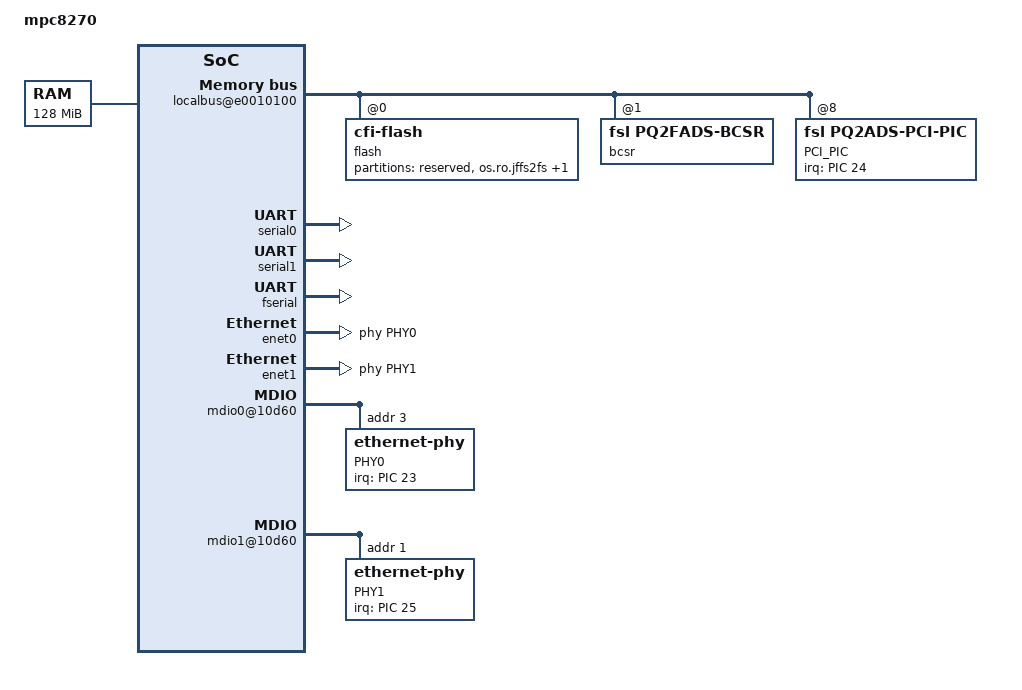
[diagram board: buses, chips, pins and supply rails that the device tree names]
/*
 * Device Tree for MPC8270
 *
 * This program is free software; you can redistribute  it and/or modify it
 * under  the terms of  the GNU General  Public License as published by the
 * Free Software Foundation;  either version 2 of the  License, or (at your
 * option) any later version.
 */

/dts-v1/;

/ {
	model = "mpc8270";
	compatible = "fsl,pq2fads";
	#address-cells = <1>;
	#size-cells = <1>;

	aliases {
		ethernet0 = &enet0;
		ethernet1 = &enet1;
		serial0 = &serial0;
		serial1 = &serial1;
	};

	cpus {
		#address-cells = <1>;
		#size-cells = <0>;

		cpu@0 {
			device_type = "cpu";
			reg = <0x0>;
			d-cache-line-size = <32>;
			i-cache-line-size = <32>;
			d-cache-size = <16384>;
			i-cache-size = <16384>;
			timebase-frequency = <0>;
			clock-frequency = <0>;
		};
	};

	memory {
		device_type = "memory";
		reg = <0x0 0x08000000>;
	};

	localbus@e0010100 {
		compatible = "fsl,mpc8280-localbus",
		             "fsl,pq2-localbus";
		#address-cells = <2>;
		#size-cells = <1>;
		reg = <0xe0010100 0x60>;

		ranges = <0x0 0x0 0xf0000000 0x2000000>;

		flash@0,0 {
			compatible = "cfi-flash";
			reg = <0x0 0x0 0x2000000>;
			#address-cells = <1>;
			#size-cells = <1>;
			bank-width = <4>;
			device-width = <1>;

			/* compact ramfs configuration
			partition@0x00000000 {
				label = "reserved";
				reg = <0x00000000 0x00600000>;
				read-only;
			};
			partition@0x00b00000 {
				label = "jffs2fs";
				reg = <0x00600000 0x01a00000>;
			};*/
			/* ramfs configuration with python support
			partition@0x00000000 {
				label = "reserved";
				reg = <0x00000000 0x00b00000>;
				read-only;
			};
			partition@0x00b00000 {
				label = "jffs2fs";
				reg = <0x00b00000 0x01a00000>;
			};*/
			/* jffs2 configuration with python support */
			partition@0x00000000 {
				label = "reserved";
				reg = <0x00000000 0x00300000>;
				read-only;
			};
			partition@0x00300000 {
				label = "os.ro.jffs2fs";
				reg = <0x00300000 0x00c00000>;
				read-only;
			};
			partition@0x00b00000 {
				label = "app.rw.jffs2fs";
				reg = <0x00f00000 0x01100000>;
			};
		};

		bcsr@1,0 {
			reg = <0x1 0x0 0x20>;
			compatible = "fsl,pq2fads-bcsr";
		};

		PCI_PIC: pic@8,0 {
			#interrupt-cells = <1>;
			interrupt-controller;
			reg = <0x8 0x0 0x8>;
			compatible = "fsl,pq2ads-pci-pic";
			interrupt-parent = <&PIC>;
			interrupts = <24 8>;
		};
	};

	soc@e0000000 {
		#address-cells = <1>;
		#size-cells = <1>;
		device_type = "soc";
		compatible = "fsl,mpc8280", "fsl,pq2-soc";
		ranges = <0x0 0xe0000000 0x53000>;

		// Temporary -- will go away once kernel uses ranges for get_immrbase().
		reg = <0xe0000000 0x53000>;

		cpm@119c0 {
			#address-cells = <1>;
			#size-cells = <1>;
			#interrupt-cells = <2>;
			compatible = "fsl,mpc8280-cpm", "fsl,cpm2";
			reg = <0x119c0 0x30>;
			ranges;

			muram@0 {
				#address-cells = <1>;
				#size-cells = <1>;
				ranges = <0x0 0x0 0x10000>;

				data@0 {
					compatible = "fsl,cpm-muram-data";
					reg = <0x0 0x4000 0x8000 0x4000>;
				};
			};

			brg@119f0 {
				compatible = "fsl,mpc8280-brg",
				             "fsl,cpm2-brg",
				             "fsl,cpm-brg";
				reg = <0x119f0 0x10 0x115f0 0x10>;
			};

			serial0: serial@11a82 {
				device_type = "serial";
				compatible = "fsl,cpm2-smc-uart";
				reg = <0x11a80 0x10 0x87fc 2>;
				interrupts = <4 8>;
				interrupt-parent = <&PIC>;
				fsl,cpm-brg = <7>;
				fsl,cpm-command = <0x1d000000>;
			};

			serial1: serial@11a92 {
				device_type = "serial";
				compatible = "fsl,cpm2-smc-uart";
				reg = <0x11a90 0x10 0x88fc 2>;
				interrupts = <5 8>;
				interrupt-parent = <&PIC>;
				fsl,cpm-brg = <8>;
				fsl,cpm-command = <0x21200000>;
			};

			fserial: fcc1@11300 {
				device_type = "serial";
				compatible = "fsl,mpc8280-fcc-serial",
				             "fsl,cpm2-fcc-serial";
				reg = <0x11300 0x20 0x8400 0x100 0x11b04 0x1>;
				interrupts = <32 8>;
				interrupt-parent = <&PIC>;
				fsl,cpm-command = <0x12000000>;
			};

			scc1: scc1@11a00 {
				device_type = "serial";
				compatible = "fsl,mpc8280-scc-serial",
				             "fsl,cpm2-scc-serial";
				reg = <0x11a00 0x20 0x8000 0x100 0x11b08 0x1>;
				interrupts = <40 8>;
				interrupt-parent = <&PIC>;
				fsl,cpm-command = <0x00800000>;
				fsl,clkcfg_mask = <0x3f000000>;
				fsl,clkcfg_value = <0x37000000>;
			};

			scc2: scc2@11a20 {
				device_type = "serial";
				compatible = "fsl,mpc8280-scc-serial",
				             "fsl,cpm2-scc-serial";
				reg = <0x11a20 0x20 0x8100 0x100 0x11b08 0x1>;
				interrupts = <41 8>;
				interrupt-parent = <&PIC>;
				fsl,cpm-command = <0x04a00000>;
				fsl,clkcfg_mask = <0x003f0000>;
				fsl,clkcfg_value = <0x002500>;
			};

			scc3: scc3@11a40 {
				device_type = "serial";
				compatible = "fsl,mpc8280-scc-serial",
				             "fsl,cpm2-scc-serial";
				reg = <0x11a40 0x20 0x8200 0x100 0x11b08 0x1>;
				interrupts = <42 8>;
				interrupt-parent = <&PIC>;
				fsl,cpm-command = <0x08c00000>;
				fsl,clkcfg_mask = <0x00003f00>;
				fsl,clkcfg_value = <0x00002500>;
			};

			scc4: scc4@11a60 {
				device_type = "serial";
				compatible = "fsl,mpc8280-scc-serial",
				             "fsl,cpm2-scc-serial";
				reg = <0x11a60 0x20 0x8300 0x100 0x11b08 0x1>;
				interrupts = <42 8>;
				interrupt-parent = <&PIC>;
				fsl,cpm-command = <0x0ce00000>;
				fsl,clkcfg_mask = <0x0000003f>;
				fsl,clkcfg_value = <0x00000037>;
			};

			enet0: ethernet@11320 {
				device_type = "network";
				compatible = "fsl,mpc8280-fcc-enet",
				             "fsl,cpm2-fcc-enet";
				reg = <0x11320 0x20 0x8500 0x100 0x113b0 0x1>;
				interrupts = <33 8>;
				interrupt-parent = <&PIC>;
				phy-handle = <&PHY0>;
				linux,network-index = <0>;
				fsl,cpm-command = <0x16200300>;
				local-mac-address = [de ad be ef 70 01];
			};

			enet1: ethernet@11340 {
				device_type = "network";
				compatible = "fsl,mpc8280-fcc-enet",
				             "fsl,cpm2-fcc-enet";
				reg = <0x11340 0x20 0x8600 0x100 0x113d0 0x1>;
				interrupts = <34 8>;
				interrupt-parent = <&PIC>;
				phy-handle = <&PHY1>;
				linux,network-index = <1>;
				fsl,cpm-command = <0x1a400300>;
				local-mac-address = [de ad be ef 70 02];
			};

			mdio0@10d60 {
				device_type = "mdio";
				compatible = "fsl,cpm2-mdio-bitbang";
				#address-cells = <1>;
				#size-cells = <0>;
				reg = <0x10d60 0x14>;
				fsl,mdio-pin = <11>;
				fsl,mdc-pin = <10>;

				PHY0: ethernet-phy@0 {
					interrupt-parent = <&PIC>;
					interrupts = <23 2>;
					reg = <0x3>;
					device_type = "ethernet-phy";
				};
			};

			mdio1@10d60 {
				device_type = "mdio";
				compatible = "fsl,cpm2-mdio-bitbang";
				#address-cells = <1>;
				#size-cells = <0>;
				reg = <0x10d60 0x14>;
				fsl,mdio-pin = <13>;
				fsl,mdc-pin = <12>;

				PHY1: ethernet-phy@1 {
					interrupt-parent = <&PIC>;
					interrupts = <25 2>;
					reg = <0x1>;
					device_type = "ethernet-phy";
				};
			};
		};

		PIC: interrupt-controller@10c00 {
			#interrupt-cells = <2>;
			interrupt-controller;
			reg = <0x10c00 0x80>;
			compatible = "fsl,mpc8280-pic", "fsl,cpm2-pic";
		};

	};

	chosen {
		linux,stdout-path = "/soc/cpm/serial@11a82";
	};
};
